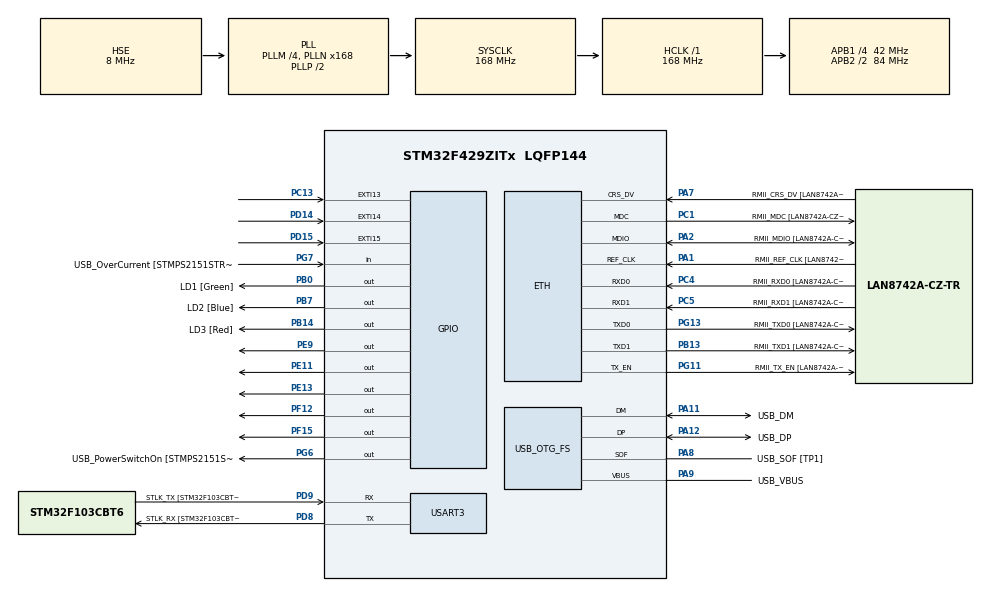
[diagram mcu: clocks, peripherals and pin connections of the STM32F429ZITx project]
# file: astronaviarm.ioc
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ETH.MediaInterface=HAL_ETH_RMII_MODE
ETH.PHY_Name=LAN8742A_PHY_ADDRESS
ETH.PHY_Value=0
ETH.PhyAddress=0
Mcu.Family=STM32F4
Mcu.Name=STM32F429ZITx
Mcu.Package=LQFP144
NVIC.EXTI15_10_IRQn=true\:0\:0\:false\:false\:true\:true\:true\:true
NVIC.PriorityGroup=NVIC_PRIORITYGROUP_4
NVIC.USART3_IRQn=true\:0\:0\:false\:false\:true\:true\:true\:true
PA1.GPIO_Label=RMII_REF_CLK [LAN8742A-CZ-TR_REFCLK0]
PA1.Mode=RMII
PA1.Signal=ETH_REF_CLK
PA10.GPIO_Label=USB_ID
PA10.Signal=USB_OTG_FS_ID
PA11.GPIO_Label=USB_DM
PA11.Mode=Device_Only
PA11.Signal=USB_OTG_FS_DM
PA12.GPIO_Label=USB_DP
PA12.Mode=Device_Only
PA12.Signal=USB_OTG_FS_DP
PA13.GPIO_Label=TMS
PA13.Mode=Serial_Wire
PA13.Signal=SYS_JTMS-SWDIO
PA14.GPIO_Label=TCK
PA14.Mode=Serial_Wire
PA14.Signal=SYS_JTCK-SWCLK
PA2.GPIO_Label=RMII_MDIO [LAN8742A-CZ-TR_MDIO]
PA2.Mode=RMII
PA2.Signal=ETH_MDIO
PA7.GPIO_Label=RMII_CRS_DV [LAN8742A-CZ-TR_CRS_DV]
PA7.Mode=RMII
PA7.Signal=ETH_CRS_DV
PA8.GPIO_Label=USB_SOF [TP1]
PA8.Mode=Activate_SOF_FS
PA8.Signal=USB_OTG_FS_SOF
PA9.GPIO_Label=USB_VBUS
PA9.Mode=Activate_VBUS
PA9.Signal=USB_OTG_FS_VBUS
PB0.GPIO_Label=LD1 [Green]
PB0.Signal=GPIO_Output
PB13.GPIO_Label=RMII_TXD1 [LAN8742A-CZ-TR_TXD1]
PB13.Mode=RMII
PB13.Signal=ETH_TXD1
PB14.GPIO_Label=LD3 [Red]
PB14.Signal=GPIO_Output
PB7.GPIO_Label=LD2 [Blue]
PB7.Signal=GPIO_Output
PC1.GPIO_Label=RMII_MDC [LAN8742A-CZ-TR_MDC]
PC1.Mode=RMII
PC1.Signal=ETH_MDC
PC13.Signal=GPXTI13
PC14/OSC32_IN.Mode=LSE-External-Oscillator
PC14/OSC32_IN.Signal=RCC_OSC32_IN
PC15/OSC32_OUT.Mode=LSE-External-Oscillator
PC15/OSC32_OUT.Signal=RCC_OSC32_OUT
PC4.GPIO_Label=RMII_RXD0 [LAN8742A-CZ-TR_RXD0]
PC4.Mode=RMII
PC4.Signal=ETH_RXD0
PC5.GPIO_Label=RMII_RXD1 [LAN8742A-CZ-TR_RXD1]
PC5.Mode=RMII
PC5.Signal=ETH_RXD1
PD14.Signal=GPXTI14
PD15.Signal=GPXTI15
PD8.GPIO_Label=STLK_RX [STM32F103CBT6_PA3]
PD8.Mode=Asynchronous
PD8.Signal=USART3_TX
PD9.GPIO_Label=STLK_TX [STM32F103CBT6_PA2]
PD9.Mode=Asynchronous
PD9.Signal=USART3_RX
PE11.Signal=GPIO_Output
PE13.Signal=GPIO_Output
PE9.Signal=GPIO_Output
PF12.Signal=GPIO_Output
PF15.Signal=GPIO_Output
PG11.GPIO_Label=RMII_TX_EN [LAN8742A-CZ-TR_TXEN]
PG11.Mode=RMII
PG11.Signal=ETH_TX_EN
PG13.GPIO_Label=RMII_TXD0 [LAN8742A-CZ-TR_TXD0]
PG13.Mode=RMII
PG13.Signal=ETH_TXD0
PG6.GPIO_Label=USB_PowerSwitchOn [STMPS2151STR_EN]
PG6.Signal=GPIO_Output
PG7.GPIO_Label=USB_OverCurrent [STMPS2151STR_FAULT]
PG7.Signal=GPIO_Input
PH0/OSC_IN.GPIO_Label=MCO [STM32F103CBT6_PA8]
PH0/OSC_IN.Mode=HSE-External-Clock-Source
PH0/OSC_IN.Signal=RCC_OSC_IN
PH1/OSC_OUT.Mode=HSE-External-Clock-Source
PH1/OSC_OUT.Signal=RCC_OSC_OUT
ProjectManager.HeapSize=0x200
ProjectManager.StackSize=0x400
ProjectManager.TargetToolchain=STM32CubeIDE
RCC.48MHZClocksFreq_Value=48000000
RCC.AHBFreq_Value=168000000
RCC.APB1CLKDivider=RCC_HCLK_DIV4
RCC.APB1Freq_Value=42000000
RCC.APB1TimFreq_Value=84000000
RCC.APB2CLKDivider=RCC_HCLK_DIV2
RCC.APB2Freq_Value=84000000
RCC.APB2TimCLKDivider=2
RCC.APB2TimFreq_Value=168000000
RCC.CortexFreq_Value=168000000
RCC.HCLKFreq_Value=168000000
RCC.HSE_VALUE=8000000
RCC.HSI_VALUE=16000000
RCC.PLLM=4
RCC.PLLMUL=RCC_PLL_MUL9
RCC.PLLN=168
RCC.PLLQ=7
RCC.PRESCALERUSB=RCC_USBCLKSOURCE_PLL_DIV1_5
RCC.SYSCLKFreq_VALUE=168000000
RCC.SYSCLKSource=RCC_SYSCLKSOURCE_PLLCLK
RCC.SYSCLKSourceVirtual=RCC_SYSCLKSOURCE_PLLCLK
RCC.USBFreq_Value=48000000
RCC.VCOOutputFreq_Value=336000000
USART3.VirtualMode=VM_ASYNC
USB_OTG_FS.VirtualMode=Device_Only
board=NUCLEO-F429ZI

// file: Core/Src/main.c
/* USER CODE BEGIN Header */
/**
 ******************************************************************************
 * @file           : main.c
 * @brief          : Main program body
 ******************************************************************************
 * @attention
 *
 * Copyright (c) 2024 STMicroelectronics.
 * All rights reserved.
 *
 * This software is licensed under terms that can be found in the LICENSE file
 * in the root directory of this software component.
 * If no LICENSE file comes with this software, it is provided AS-IS.
 *
 ******************************************************************************
 */
/* USER CODE END Header */
#include "main.h"
#include "string.h"

/* USER CODE BEGIN Includes */
#include "rotate.h"
#include "uart.h"
/* USER CODE END Includes */

ETH_TxPacketConfig TxConfig;
ETH_DMADescTypeDef  DMARxDscrTab[ETH_RX_DESC_CNT]; /* Ethernet Rx DMA Descriptors */
ETH_DMADescTypeDef  DMATxDscrTab[ETH_TX_DESC_CNT]; /* Ethernet Tx DMA Descriptors */
ETH_HandleTypeDef heth;
UART_HandleTypeDef huart3;
PCD_HandleTypeDef hpcd_USB_OTG_FS;

void SystemClock_Config(void);
static void MX_GPIO_Init(void);
static void MX_ETH_Init(void);
static void MX_USART3_UART_Init(void);
static void MX_USB_OTG_FS_PCD_Init(void);

int main(void)
{

	/* MCU Configuration--------------------------------------------------------*/

	/* Reset of all peripherals, Initializes the Flash interface and the Systick. */
	HAL_Init();

	/* Configure the system clock */
	SystemClock_Config();

	/* Initialize all configured peripherals */
	MX_GPIO_Init();
	MX_ETH_Init();
	MX_USART3_UART_Init();
	MX_USB_OTG_FS_PCD_Init();
	/* USER CODE BEGIN 2 */
	HAL_UART_Receive_IT(&huart3, az_elv, 16);
	/* USER CODE END 2 */

	/* Infinite loop */
	/* USER CODE BEGIN WHILE */
	double my_az = 0.0;
	double my_elv = 0.0;
	while (1)
	{
		/* USER CODE END WHILE */

		/* USER CODE BEGIN 3 */

		// When position is recived, go to the given angles
		// and save the current positon
		if(pos_recieved){
			rotateXY(az, elv);
			ignore = 0;				// Used to ingone the interuppr when the limit is reached
			my_az += az;
			my_elv += elv;
			pos_recieved = 0;
		}
		/* Return to strat position is asked */
		if (go_back){
			rotateXY(-my_az, -my_elv);
			pos_recieved = 0;
			my_az = 0.0;
			my_elv = 0.0;
		}
		/* User Aborted Tracking */
		if (stop){
			stop = 1;
			break; /* Optional */
		}
	}
	/* USER CODE END 3 */
}

void SystemClock_Config(void)
{
	RCC_OscInitTypeDef RCC_OscInitStruct = {0};
	RCC_ClkInitTypeDef RCC_ClkInitStruct = {0};

	/** Configure the main internal regulator output voltage
	 */
	__HAL_RCC_PWR_CLK_ENABLE();
	__HAL_PWR_VOLTAGESCALING_CONFIG(PWR_REGULATOR_VOLTAGE_SCALE1);

	/** Initializes the RCC Oscillators according to the specified parameters
	 * in the RCC_OscInitTypeDef structure.
	 */
	RCC_OscInitStruct.OscillatorType = RCC_OSCILLATORTYPE_HSE;
	RCC_OscInitStruct.HSEState = RCC_HSE_BYPASS;
	RCC_OscInitStruct.PLL.PLLState = RCC_PLL_ON;
	RCC_OscInitStruct.PLL.PLLSource = RCC_PLLSOURCE_HSE;
	RCC_OscInitStruct.PLL.PLLM = 4;
	RCC_OscInitStruct.PLL.PLLN = 168;
	RCC_OscInitStruct.PLL.PLLP = RCC_PLLP_DIV2;
	RCC_OscInitStruct.PLL.PLLQ = 7;
	if (HAL_RCC_OscConfig(&RCC_OscInitStruct) != HAL_OK)
	{
		Error_Handler();
	}

	/** Initializes the CPU, AHB and APB buses clocks
	 */
	RCC_ClkInitStruct.ClockType = RCC_CLOCKTYPE_HCLK|RCC_CLOCKTYPE_SYSCLK
			|RCC_CLOCKTYPE_PCLK1|RCC_CLOCKTYPE_PCLK2;
	RCC_ClkInitStruct.SYSCLKSource = RCC_SYSCLKSOURCE_PLLCLK;
	RCC_ClkInitStruct.AHBCLKDivider = RCC_SYSCLK_DIV1;
	RCC_ClkInitStruct.APB1CLKDivider = RCC_HCLK_DIV4;
	RCC_ClkInitStruct.APB2CLKDivider = RCC_HCLK_DIV2;

	if (HAL_RCC_ClockConfig(&RCC_ClkInitStruct, FLASH_LATENCY_5) != HAL_OK)
	{
		Error_Handler();
	}
}

static void MX_ETH_Init(void)
{

	static uint8_t MACAddr[6];

	heth.Instance = ETH;
	MACAddr[0] = 0x00;
	MACAddr[1] = 0x80;
	MACAddr[2] = 0xE1;
	MACAddr[3] = 0x00;
	MACAddr[4] = 0x00;
	MACAddr[5] = 0x00;
	heth.Init.MACAddr = &MACAddr[0];
	heth.Init.MediaInterface = HAL_ETH_RMII_MODE;
	heth.Init.TxDesc = DMATxDscrTab;
	heth.Init.RxDesc = DMARxDscrTab;
	heth.Init.RxBuffLen = 1524;

	if (HAL_ETH_Init(&heth) != HAL_OK)
	{
		Error_Handler();
	}

	memset(&TxConfig, 0 , sizeof(ETH_TxPacketConfig));
	TxConfig.Attributes = ETH_TX_PACKETS_FEATURES_CSUM | ETH_TX_PACKETS_FEATURES_CRCPAD;
	TxConfig.ChecksumCtrl = ETH_CHECKSUM_IPHDR_PAYLOAD_INSERT_PHDR_CALC;
	TxConfig.CRCPadCtrl = ETH_CRC_PAD_INSERT;

}

static void MX_USART3_UART_Init(void)
{

	huart3.Instance = USART3;
	huart3.Init.BaudRate = 115200;
	huart3.Init.WordLength = UART_WORDLENGTH_8B;
	huart3.Init.StopBits = UART_STOPBITS_1;
	huart3.Init.Parity = UART_PARITY_NONE;
	huart3.Init.Mode = UART_MODE_TX_RX;
	huart3.Init.HwFlowCtl = UART_HWCONTROL_NONE;
	huart3.Init.OverSampling = UART_OVERSAMPLING_16;
	if (HAL_UART_Init(&huart3) != HAL_OK)
	{
		Error_Handler();
	}

}

static void MX_USB_OTG_FS_PCD_Init(void)
{

	hpcd_USB_OTG_FS.Instance = USB_OTG_FS;
	hpcd_USB_OTG_FS.Init.dev_endpoints = 4;
	hpcd_USB_OTG_FS.Init.speed = PCD_SPEED_FULL;
	hpcd_USB_OTG_FS.Init.dma_enable = DISABLE;
	hpcd_USB_OTG_FS.Init.phy_itface = PCD_PHY_EMBEDDED;
	hpcd_USB_OTG_FS.Init.Sof_enable = ENABLE;
	hpcd_USB_OTG_FS.Init.low_power_enable = DISABLE;
	hpcd_USB_OTG_FS.Init.lpm_enable = DISABLE;
	hpcd_USB_OTG_FS.Init.vbus_sensing_enable = ENABLE;
	hpcd_USB_OTG_FS.Init.use_dedicated_ep1 = DISABLE;
	if (HAL_PCD_Init(&hpcd_USB_OTG_FS) != HAL_OK)
	{
		Error_Handler();
	}

}

static void MX_GPIO_Init(void)
{
	GPIO_InitTypeDef GPIO_InitStruct = {0};

	/* GPIO Ports Clock Enable */
	__HAL_RCC_GPIOC_CLK_ENABLE();
	__HAL_RCC_GPIOH_CLK_ENABLE();
	__HAL_RCC_GPIOA_CLK_ENABLE();
	__HAL_RCC_GPIOB_CLK_ENABLE();
	__HAL_RCC_GPIOF_CLK_ENABLE();
	__HAL_RCC_GPIOE_CLK_ENABLE();
	__HAL_RCC_GPIOD_CLK_ENABLE();
	__HAL_RCC_GPIOG_CLK_ENABLE();

	/*Configure GPIO pin Output Level */
	HAL_GPIO_WritePin(GPIOB, LD1_Pin|LD3_Pin|LD2_Pin, GPIO_PIN_RESET);

	/*Configure GPIO pin Output Level */
	HAL_GPIO_WritePin(GPIOF, GPIO_PIN_12|GPIO_PIN_15, GPIO_PIN_RESET);

	/*Configure GPIO pin Output Level */
	HAL_GPIO_WritePin(GPIOE, GPIO_PIN_9|GPIO_PIN_11|GPIO_PIN_13, GPIO_PIN_RESET);

	/*Configure GPIO pin Output Level */
	HAL_GPIO_WritePin(USB_PowerSwitchOn_GPIO_Port, USB_PowerSwitchOn_Pin, GPIO_PIN_RESET);

	/*Configure GPIO pin : PC13 */
	GPIO_InitStruct.Pin = GPIO_PIN_13;
	GPIO_InitStruct.Mode = GPIO_MODE_IT_RISING;
	GPIO_InitStruct.Pull = GPIO_NOPULL;
	HAL_GPIO_Init(GPIOC, &GPIO_InitStruct);

	/*Configure GPIO pins : LD1_Pin LD3_Pin LD2_Pin */
	GPIO_InitStruct.Pin = LD1_Pin|LD3_Pin|LD2_Pin;
	GPIO_InitStruct.Mode = GPIO_MODE_OUTPUT_PP;
	GPIO_InitStruct.Pull = GPIO_NOPULL;
	GPIO_InitStruct.Speed = GPIO_SPEED_FREQ_LOW;
	HAL_GPIO_Init(GPIOB, &GPIO_InitStruct);

	/*Configure GPIO pins : PF12 PF15 */
	GPIO_InitStruct.Pin = GPIO_PIN_12|GPIO_PIN_15;
	GPIO_InitStruct.Mode = GPIO_MODE_OUTPUT_PP;
	GPIO_InitStruct.Pull = GPIO_NOPULL;
	GPIO_InitStruct.Speed = GPIO_SPEED_FREQ_LOW;
	HAL_GPIO_Init(GPIOF, &GPIO_InitStruct);

	/*Configure GPIO pins : PE9 PE11 PE13 */
	GPIO_InitStruct.Pin = GPIO_PIN_9|GPIO_PIN_11|GPIO_PIN_13;
	GPIO_InitStruct.Mode = GPIO_MODE_OUTPUT_PP;
	GPIO_InitStruct.Pull = GPIO_NOPULL;
	GPIO_InitStruct.Speed = GPIO_SPEED_FREQ_LOW;
	HAL_GPIO_Init(GPIOE, &GPIO_InitStruct);

	/*Configure GPIO pins : PD14 PD15 */
	GPIO_InitStruct.Pin = GPIO_PIN_14|GPIO_PIN_15;
	GPIO_InitStruct.Mode = GPIO_MODE_IT_RISING;
	GPIO_InitStruct.Pull = GPIO_NOPULL;
	HAL_GPIO_Init(GPIOD, &GPIO_InitStruct);

	/*Configure GPIO pin : USB_PowerSwitchOn_Pin */
	GPIO_InitStruct.Pin = USB_PowerSwitchOn_Pin;
	GPIO_InitStruct.Mode = GPIO_MODE_OUTPUT_PP;
	GPIO_InitStruct.Pull = GPIO_NOPULL;
	GPIO_InitStruct.Speed = GPIO_SPEED_FREQ_LOW;
	HAL_GPIO_Init(USB_PowerSwitchOn_GPIO_Port, &GPIO_InitStruct);

	/*Configure GPIO pin : USB_OverCurrent_Pin */
	GPIO_InitStruct.Pin = USB_OverCurrent_Pin;
	GPIO_InitStruct.Mode = GPIO_MODE_INPUT;
	GPIO_InitStruct.Pull = GPIO_NOPULL;
	HAL_GPIO_Init(USB_OverCurrent_GPIO_Port, &GPIO_InitStruct);

	/* EXTI interrupt init*/
	HAL_NVIC_SetPriority(EXTI15_10_IRQn, 0, 0);
	HAL_NVIC_EnableIRQ(EXTI15_10_IRQn);

}

/* USER CODE BEGIN 4 */

/**
 * @brief USART3 Interrupt Handler
 */
void HAL_UART_RxCpltCallback(UART_HandleTypeDef *huart)
{
	/* Call recievePosition*/
	recievePosition();
}

/**
 * @brief EXTI Handler
 */
void HAL_GPIO_EXTI_Callback(uint16_t GPIO_Pin)
{
	/* Call transmitError*/
	transmitError(GPIO_Pin);
}

/* USER CODE END 4 */

void Error_Handler(void)
{
	__disable_irq();
	while (1)
	{
	}
}
